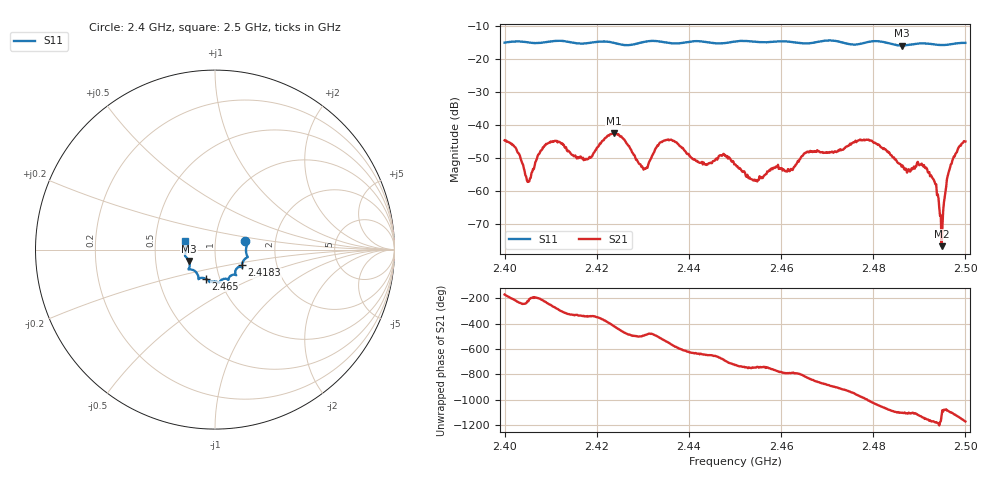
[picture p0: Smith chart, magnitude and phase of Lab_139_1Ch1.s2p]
# Hz S RI R
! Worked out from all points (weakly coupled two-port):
!   601 points, 2.4 GHz to 2.5 GHz, reference 50 ohm
!   highest |S21| = -42.47 dB at 2.4237 GHz (marker M1); lowest = -76.6 dB at 2.4948 GHz (marker M2)
!   lowest |S11| = -16.0 dB at 2.4862 GHz (marker M3), VSWR 1.38, Z = 37.1 - j4.8 ohm
!   |S11| at or under -10 dB: start of sweep to end of sweep
!   S12 and S22 are empty: the file has one direction only
!   S11 on the Smith chart (normalised r, x): 2.4 GHz: 1.40, +0.13; 2.4183 GHz: 1.33, -0.24; 2.465 GHz: 0.86, -0.29; 2.5 GHz: 0.71, +0.07
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2.4e9  0.1691 0.0455  -0.00576 -0.00102  0 0  0 0
2.402667e9  0.1796 0.0333  -0.00292 0.00287  0 0  0 0
2.405167e9  0.1752 0.0172  -0.00104 0.000963  0 0  0 0
2.4095e9  0.1775 -0.0314  -0.00239 0.00476  0 0  0 0
2.416667e9  0.1549 -0.0684  0.00291 0.00121  0 0  0 0
2.418333e9  0.1498 -0.0869  0.00307 0.00102  0 0  0 0
2.423667e9  0.1449 -0.0966  0.00397 -0.00639  0 0  0 0
2.430167e9  0.1141 -0.1378  -0.00146 -0.00152  0 0  0 0
2.433333e9  0.1168 -0.1413  -0.00392 -0.00293  0 0  0 0
2.45e9  0.0252 -0.1805  0.00252 -0.000258  0 0  0 0
2.454667e9  0.00993 -0.1794  0.00133 -0.000551  0 0  0 0
2.462333e9  -0.0336 -0.1758  0.000823 -0.00194  0 0  0 0
2.465e9  -0.0527 -0.162  -0.000108 -0.00371  0 0  0 0
2.466667e9  -0.0713 -0.1575  -0.00209 -0.00344  0 0  0 0
2.4785e9  -0.1379 -0.1105  0.000536 0.00598  0 0  0 0
2.483333e9  -0.1422 -0.096  0.0038 0.000166  0 0  0 0
2.486167e9  -0.1449 -0.0631  0.00218 -0.00087  0 0  0 0
2.491667e9  -0.1669 -0.03  0.000615 -0.00209  0 0  0 0
2.4935e9  -0.1629 -0.014  -0.000169 -0.00126  0 0  0 0
2.494833e9  -0.1608 0.00207  0.000105 -0.000105  0 0  0 0
2.496667e9  -0.163 0.024  0.00216 -0.000677  0 0  0 0
2.5e9  -0.1669 0.0474  -3.7e-05 -0.00563  0 0  0 0
